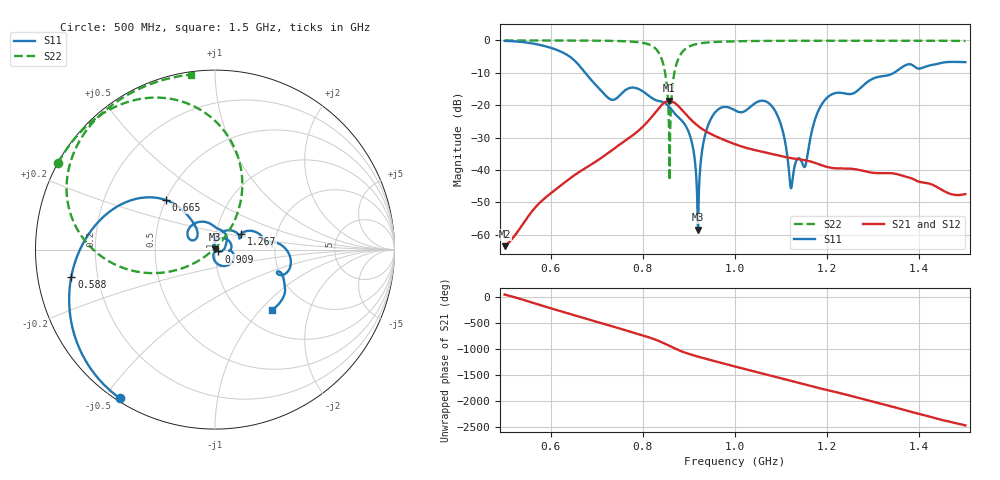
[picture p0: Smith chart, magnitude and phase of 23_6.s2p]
! TOUCHSTONE file generated by CST MICROWAVE STUDIO
! Date and time: Fri Oct  2 18:57:45 2020
! Project name: Scenario_1_Free_Space_out_of_line.cst
! Parameters = {Lambda=346.42; Step_1=17.321; dy1=-33.862; dx1=1039; L_HA=400; MT=2.54; Rad_Dielectric=30; Rad_Lower=7.3; Rad_Upper=30; a_HA=580; a_WG=246; b_HA=500; b_WG=121; c_HA=0; c_WG=187; d_feed=85; h_feed=15; h_lower=18; h_upper=40}
! Header version: 2018
! Port assignment regex: !\s*Touchstone port\s*([0-9]+)\s*=\s*(CST MWS port|CST DS port)\s*([0-9]+|Zmin|Zmax)\s*\(\"(.*)\"\)(\s*mode\s*([0-9]+))?.*
! Touchstone port assignment:
! Touchstone port 1 = CST MWS port 1 ("")
! Touchstone port 2 = CST MWS port 2 ("")
# GHz S DB R 50
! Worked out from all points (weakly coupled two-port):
!   1003 points, 500 MHz to 1.5 GHz, reference 50 ohm
!   highest |S21| = -18.62 dB at 857 MHz (marker M1); lowest = -63.5 dB at 500 MHz (marker M2)
!   lowest |S11| = -58.4 dB at 920 MHz (marker M3), VSWR 1.00, Z = 50 + j0.119 ohm
!   |S11| at or under -10 dB: 675 MHz to 1.345 GHz (669.7 MHz wide, 66.3 % of centre)
!   |S22| runs from -43.2 to 0.0 dB; largest |S21 - S12| = 2.3e-06
!   S11 on the Smith chart (normalised r, x): 500 MHz: 0.01, -0.55; 588 MHz: 0.10, -0.09; 665 MHz: 0.50, +0.33; 909 MHz: 1.04, -0.02; 1.267 GHz: 1.32, +0.24; 1.5 GHz: 1.36, -1.16
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0.5  -0.15 -122.5  -63.48 47.0  -63.48 47.0  -0.01 151.2
0.588  -1.78 -169.4  -48.57 175.2  -48.57 175.2  -0.02 145.0
0.665  -8.25 134.6  -40.30 -26.7  -40.30 -26.7  -0.04 138.5
0.667  -8.59 133.6  -40.12 -31.9  -40.12 -31.9  -0.04 138.3
0.73  -18.19 143.2  -34.18 166.9  -34.18 166.9  -0.13 130.7
0.834  -18.65 80.2  -20.99 -122.2  -20.99 -122.2  -3.67 84.9
0.848  -19.32 61.4  -19.06 -177.5  -19.06 -177.5  -9.72 63.2
0.857  -20.45 47.0  -18.62 143.8  -18.62 143.8  -28.45 53.7
0.875  -23.42 25.5  -19.96 69.5  -19.96 69.5  -6.40 -165.9
0.909  -33.24 -28.7  -25.06 -37.1  -25.06 -37.1  -1.39 163.4
0.92  -58.44 81.9  -26.41 -65.3  -26.41 -65.3  -1.00 158.2
0.946  -24.69 75.8  -28.75 -128.2  -28.75 -128.2  -0.57 149.9
1  -21.57 -3.0  -32.02 105.3  -32.01 105.3  -0.26 140.2
1.081  -20.46 -69.9  -35.04 -78.4  -35.04 -78.4  -0.13 131.4
1.103  -27.63 -102.3  -35.78 -128.2  -35.78 -128.2  -0.12 129.5
1.122  -45.60 -40.5  -36.33 -170.6  -36.33 -170.6  -0.11 127.8
1.153  -38.57 59.2  -36.99 118.6  -36.99 118.6  -0.10 125.3
1.167  -27.85 92.1  -37.48 85.6  -37.48 85.6  -0.10 124.2
1.201  -17.51 53.9  -39.07 11.1  -39.07 11.1  -0.09 121.6
1.267  -15.36 31.2  -39.89 -134.8  -39.89 -134.8  -0.09 116.6
1.334  -10.68 8.7  -40.93 74.0  -40.93 74.0  -0.09 111.5
1.5  -6.70 -46.5  -47.43 54.0  -47.43 54.0  -0.14 97.9
